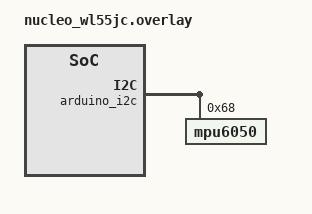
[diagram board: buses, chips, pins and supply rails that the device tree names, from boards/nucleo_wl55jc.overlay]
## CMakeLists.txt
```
cmake_minimum_required(VERSION 3.20.0)

list(APPEND EXTRA_ZEPHYR_MODULES "${CMAKE_CURRENT_SOURCE_DIR}/../..")

find_package(Zephyr REQUIRED HINTS $ENV{ZEPHYR_BASE})
project(mpu6050_polling)

target_sources(app PRIVATE src/main.c)
```

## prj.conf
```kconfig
# Referencia zephyr/samples/sensor/sht3xd/prj.conf
CONFIG_STDOUT_CONSOLE=y

# Redundante, porque ya la incluye el sensor
CONFIG_I2C=y

# logging
CONFIG_LOG=y
CONFIG_SENSOR_LOG_LEVEL_INF=y

# Necesario para que se incluya el sensor
CONFIG_SENSOR=y
CONFIG_CBPRINTF_FP_SUPPORT=y
```

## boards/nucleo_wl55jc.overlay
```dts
&arduino_i2c {
	mpu6050@68 {
		compatible = "mpu6050";
		reg = <0x68>;
	};
};
```

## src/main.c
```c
#include <zephyr/device.h>
#include <zephyr/drivers/sensor.h>
#include <zephyr/kernel.h>
#include <zephyr/sys/printk.h>

int main(void)
{
  const struct device *const dev = DEVICE_DT_GET_ONE(mpu6050);
  struct sensor_value accel[3];
  struct sensor_value gyro[3];
  double accel_m_s2[3];
  double gyro_deg_s[3];
  double attitude_deg[3] = {0.0, 0.0, 0.0};
  int64_t previous_ticks = 0;
  bool have_previous_sample = false;

  if (!device_is_ready(dev))
  {
    printk("Device not ready\n");
    return -ENODEV;
  }

  while (1)
  {
    int err = sensor_sample_fetch(dev);
    int64_t sample_ticks = k_uptime_ticks();

    if (err == 0)
    {
      err = sensor_channel_get(dev, SENSOR_CHAN_ACCEL_XYZ, accel);
    }
    if (err == 0)
    {
      err = sensor_channel_get(dev, SENSOR_CHAN_GYRO_XYZ, gyro);
    }
    if (err < 0)
    {
      printk("MPU6050 read error: %d\n", err);
      return err;
    }

    double dt_s = have_previous_sample
                      ? (double)(sample_ticks - previous_ticks) /
                            CONFIG_SYS_CLOCK_TICKS_PER_SEC
                      : 0.0;

    for (int i = 0; i < 3; i++)
    {
      accel_m_s2[i] = sensor_value_to_double(&accel[i]);
      gyro_deg_s[i] = sensor_value_to_double(&gyro[i]) * 180000000.0 / SENSOR_PI;
      attitude_deg[i] += gyro_deg_s[i] * dt_s;
    }
    previous_ticks = sample_ticks;
    have_previous_sample = true;

    printk("accel_m_s2=[%.4f,%.4f,%.4f] "
           "gyro_deg_s=[%.4f,%.4f,%.4f] "
           "attitude_deg=[%.4f,%.4f,%.4f]\n",
           accel_m_s2[0], accel_m_s2[1], accel_m_s2[2],
           gyro_deg_s[0], gyro_deg_s[1], gyro_deg_s[2],
           attitude_deg[0], attitude_deg[1], attitude_deg[2]);

    k_sleep(K_MSEC(1000));
  }
}
```
